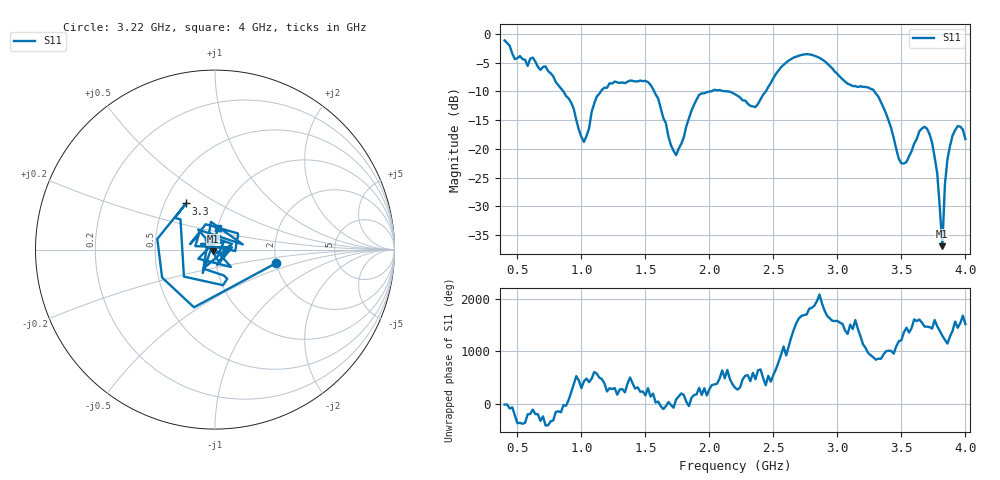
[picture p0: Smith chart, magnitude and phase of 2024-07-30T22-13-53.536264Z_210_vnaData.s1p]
!Created with skrf (http://scikit-rf.org).
# Hz S RI R 50.0
!freq ReS11 ImS11
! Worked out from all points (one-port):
!   181 points, 400 MHz to 4 GHz, reference 50 ohm
!   lowest |S11| = -36.9 dB at 3.82 GHz (marker M1), VSWR 1.03, Z = 48.9 - j0.866 ohm
!   |S11| at or under -10 dB: 859.8 MHz to 1.152 GHz (292.3 MHz wide, 29.1 % of centre); 1.569 GHz to 2.008 GHz (439.8 MHz wide, 24.6 % of centre); 3.289 GHz to end of sweep (the widest 3 of 4)
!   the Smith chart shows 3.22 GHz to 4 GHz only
!   S11 on the Smith chart (normalised r, x): 3.22 GHz: 1.98, -0.35; 3.3 GHz: 0.64, +0.36; 4 GHz: 1.01, +0.25
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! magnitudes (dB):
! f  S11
! 400 MHz  -1.1
! 480 MHz  -4.4
! 620 MHz  -4.1
! 860 MHz  -10.0
! 1.02 GHz  -18.8
! 1.12 GHz  -10.9
! 1.3 GHz  -8.5
! 1.54 GHz  -8.8
! 1.7 GHz  -19.4
! 1.76 GHz  -20.0
! 1.92 GHz  -10.6
! 2.2 GHz  -10.5
! 2.36 GHz  -12.7
! 2.66 GHz  -4.1
! 2.86 GHz  -4.2
! 3.1 GHz  -8.8
! 3.22 GHz  -9.2
! 3.3 GHz  -10.4
! 3.48 GHz  -21.7
! 3.56 GHz  -21.3
! 3.66 GHz  -16.5
! 3.72 GHz  -17.4
! 3.78 GHz  -24.2
! 3.82 GHz  -36.9
! 3.84 GHz  -26.2
! 3.88 GHz  -19.5
! 3.94 GHz  -16.0
! 4 GHz  -18.3
